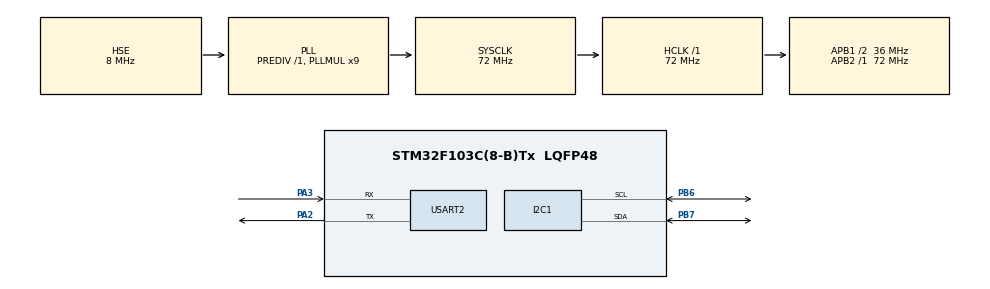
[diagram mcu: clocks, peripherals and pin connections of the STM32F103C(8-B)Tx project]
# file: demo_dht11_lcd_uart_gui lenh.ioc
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Mcu.Family=STM32F1
Mcu.Name=STM32F103C(8-B)Tx
Mcu.Package=LQFP48
NVIC.PriorityGroup=NVIC_PRIORITYGROUP_4
NVIC.USART2_IRQn=true\:0\:0\:false\:false\:true\:true\:true\:true
PA13.Mode=Serial_Wire
PA13.Signal=SYS_JTMS-SWDIO
PA14.Mode=Serial_Wire
PA14.Signal=SYS_JTCK-SWCLK
PA2.Mode=Asynchronous
PA2.Signal=USART2_TX
PA3.Mode=Asynchronous
PA3.Signal=USART2_RX
PB6.Mode=I2C
PB6.Signal=I2C1_SCL
PB7.Mode=I2C
PB7.Signal=I2C1_SDA
PD0-OSC_IN.Mode=HSE-External-Oscillator
PD0-OSC_IN.Signal=RCC_OSC_IN
PD1-OSC_OUT.Mode=HSE-External-Oscillator
PD1-OSC_OUT.Signal=RCC_OSC_OUT
ProjectManager.HeapSize=0x200
ProjectManager.StackSize=0x400
ProjectManager.TargetToolchain=MDK-ARM V5
RCC.AHBFreq_Value=72000000
RCC.APB1CLKDivider=RCC_HCLK_DIV2
RCC.APB1Freq_Value=36000000
RCC.APB1TimFreq_Value=72000000
RCC.APB2Freq_Value=72000000
RCC.APB2TimFreq_Value=72000000
RCC.HCLKFreq_Value=72000000
RCC.PLLMUL=RCC_PLL_MUL9
RCC.PLLSourceVirtual=RCC_PLLSOURCE_HSE
RCC.SYSCLKFreq_VALUE=72000000
RCC.SYSCLKSource=RCC_SYSCLKSOURCE_PLLCLK
RCC.USBFreq_Value=72000000
TIM4.Period=0xffff-1
TIM4.Prescaler=72-1
USART2.VirtualMode=VM_ASYNC
VP_TIM4_VS_ClockSourceINT.Mode=Internal
board=custom

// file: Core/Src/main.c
/* USER CODE BEGIN Header */
/**
  ******************************************************************************
  * @file           : main.c
  * @brief          : Main program body
  ******************************************************************************
  * @attention
  *
  * Copyright (c) 2025 STMicroelectronics.
  * All rights reserved.
  *
  * This software is licensed under terms that can be found in the LICENSE file
  * in the root directory of this software component.
  * If no LICENSE file comes with this software, it is provided AS-IS.
  *
  ******************************************************************************
  */
/* USER CODE END Header */
#include "main.h"
#include "stdio.h"
#include "string.h"
#include "CLCD_I2C.h"
#include "stdlib.h"

I2C_HandleTypeDef hi2c1;

TIM_HandleTypeDef htim4;

UART_HandleTypeDef huart2;

/* USER CODE BEGIN PV */
#define DHT11_PORT GPIOB
#define DHT11_PIN GPIO_PIN_14

void delay_us(uint16_t us) {
  __HAL_TIM_SET_COUNTER(&htim4, 0);
  while (__HAL_TIM_GET_COUNTER(&htim4) < us);
}

void DHT11_Start(void) {
  GPIO_InitTypeDef GPIO_InitStruct = {0};

  // Cau hình chân DHT11 làm dau ra de gui tin hieu khoi dong
  GPIO_InitStruct.Pin = DHT11_PIN;
  GPIO_InitStruct.Mode = GPIO_MODE_OUTPUT_OD;
  GPIO_InitStruct.Pull = GPIO_PULLUP;
  GPIO_InitStruct.Speed = GPIO_SPEED_FREQ_LOW;
  HAL_GPIO_Init(DHT11_PORT, &GPIO_InitStruct);

  // giuc muc LOW trong 18ms de start
  HAL_GPIO_WritePin(DHT11_PORT, DHT11_PIN, GPIO_PIN_RESET);
  HAL_Delay(18);

  // Kéo chân lên muc cao trong 30us
  HAL_GPIO_WritePin(DHT11_PORT, DHT11_PIN, GPIO_PIN_SET);
  delay_us(30);

  // Chuy?n chân v? ch? d? d?u vào d? d?c ph?n h?i t? DHT11
  GPIO_InitStruct.Mode = GPIO_MODE_INPUT;
  GPIO_InitStruct.Pull = GPIO_NOPULL;
  HAL_GPIO_Init(DHT11_PORT, &GPIO_InitStruct);
}

uint8_t DHT11_CheckResponse(void) {
  uint8_t Response = 0;
  delay_us(40);

  // Wait for LOW response from DHT11
  if (!(HAL_GPIO_ReadPin(DHT11_PORT, DHT11_PIN))) {
    delay_us(80);
    if ((HAL_GPIO_ReadPin(DHT11_PORT, DHT11_PIN))) {
      Response = 1;  // Response received
    }
  }

  delay_us(40);
  return Response;
}

uint8_t DHT11_ReadData(void) {
  uint8_t i, j;
  uint8_t data = 0;

  for (j = 0; j < 8; j++) {
    while (!(HAL_GPIO_ReadPin(DHT11_PORT, DHT11_PIN)));  // Wait for pin HIGH
    delay_us(40);

    if (!(HAL_GPIO_ReadPin(DHT11_PORT, DHT11_PIN))) {  // If LOW, it means 0
      data &= ~(1 << (7 - j));
    } else {  // If HIGH, it means 1
      data |= (1 << (7 - j));
    }

    while (HAL_GPIO_ReadPin(DHT11_PORT, DHT11_PIN));  // Wait for pin LOW
  }
  return data;
}

void DHT11_GetData(uint8_t *humidity, uint8_t *temperature) {
  uint8_t Rh_byte1, Rh_byte2, Temp_byte1, Temp_byte2, Sum;

  DHT11_Start();
  if (DHT11_CheckResponse()) {
    Rh_byte1 = DHT11_ReadData();
    Rh_byte2 = DHT11_ReadData();
    Temp_byte1 = DHT11_ReadData();
    Temp_byte2 = DHT11_ReadData();
    Sum = DHT11_ReadData();

    // kiem tra check sum
    if (Sum == (Rh_byte1 + Rh_byte2 + Temp_byte1 + Temp_byte2)) {
      *humidity = Rh_byte1;
      *temperature = Temp_byte1;
    }
  }

  // Sau khi doc xong, cau hinh de chuan bi lan sau
  GPIO_InitTypeDef GPIO_InitStruct = {0};
  GPIO_InitStruct.Pin = DHT11_PIN;
  GPIO_InitStruct.Mode = GPIO_MODE_OUTPUT_OD;
  GPIO_InitStruct.Pull = GPIO_PULLUP;
  GPIO_InitStruct.Speed = GPIO_SPEED_FREQ_LOW;
  HAL_GPIO_Init(DHT11_PORT, &GPIO_InitStruct);
}

CLCD_I2C_Name LCD1;
/* USER CODE END PV */

void SystemClock_Config(void);
static void MX_GPIO_Init(void);
static void MX_I2C1_Init(void);
static void MX_TIM4_Init(void);
static void MX_USART2_UART_Init(void);
/* USER CODE BEGIN PFP */
void MX_GPIO_Init(void) {
  GPIO_InitTypeDef GPIO_InitStruct = {0};

  __HAL_RCC_GPIOB_CLK_ENABLE();

  GPIO_InitStruct.Pin = DHT11_PIN;
  GPIO_InitStruct.Mode = GPIO_MODE_OUTPUT_OD;
  GPIO_InitStruct.Pull = GPIO_PULLUP;
  GPIO_InitStruct.Speed = GPIO_SPEED_FREQ_LOW;
  HAL_GPIO_Init(DHT11_PORT, &GPIO_InitStruct);
}

void MX_TIM4_Init(void) {
  htim4.Instance = TIM4;
  htim4.Init.Prescaler = 71;  // 72MHz / (71+1) = 1MHz (1us per tick)
  htim4.Init.CounterMode = TIM_COUNTERMODE_UP;
  htim4.Init.Period = 65535;
  htim4.Init.ClockDivision = TIM_CLOCKDIVISION_DIV1;
  HAL_TIM_Base_Init(&htim4);
  HAL_TIM_Base_Start(&htim4);
}

void MX_USART2_UART_Init(void) {
  huart2.Instance = USART2;
  huart2.Init.BaudRate = 115200;
  huart2.Init.WordLength = UART_WORDLENGTH_8B;
  huart2.Init.StopBits = UART_STOPBITS_1;
  huart2.Init.Parity = UART_PARITY_NONE;
  huart2.Init.Mode = UART_MODE_TX_RX;
  huart2.Init.HwFlowCtl = UART_HWCONTROL_NONE;
  HAL_UART_Init(&huart2);
}
/* USER CODE END PFP */

/* USER CODE BEGIN 0 */
#define CMD_BUFFER_SIZE 10

volatile uint8_t isRunning = 1;  // 1: chay; 0: dung
uint8_t uartBuffer[1];           // Nhan tung ki tu
char cmdBuffer[CMD_BUFFER_SIZE]; // Bo dem luu chuong trinh
uint8_t cmdIndex = 0;
uint8_t displayMode = 3;         // 1: only temp, 2: only humid, 3: both
uint32_t measureInterval = 2000; // Chu ki do, ms

void HAL_UART_RxCpltCallback(UART_HandleTypeDef *huart)
{
    if (huart->Instance == USART2)
    {
        if (uartBuffer[0] == '\r' || uartBuffer[0] == '\n')  // Neu nhan Enter
        {
            cmdBuffer[cmdIndex] = '\0';  // Ket thuc chuoi

            if (strcmp(cmdBuffer, "stop") == 0)
            {
                isRunning = 0;
                char msg[] = "Stopped\r\n";
                HAL_UART_Transmit(&huart2, (uint8_t*)msg, strlen(msg), HAL_MAX_DELAY);
            }
            else if (strcmp(cmdBuffer, "start") == 0)
            {
								displayMode =3;
                isRunning = 1;
                char msg[] = "Started\r\n";
                HAL_UART_Transmit(&huart2, (uint8_t*)msg, strlen(msg), HAL_MAX_DELAY);
            }
            else if (strcmp(cmdBuffer, "temp") == 0)
            {
                displayMode = 1;
								isRunning = 1;
                char msg[] = "Mode: Temp Only\r\n";
                HAL_UART_Transmit(&huart2, (uint8_t*)msg, strlen(msg), HAL_MAX_DELAY);
            }
            else if (strcmp(cmdBuffer, "hum") == 0)
            {
                displayMode = 2;
								isRunning = 1;
                char msg[] = "Mode: Humidity Only\r\n";
                HAL_UART_Transmit(&huart2, (uint8_t*)msg, strlen(msg), HAL_MAX_DELAY);
            }
            else if (strncmp(cmdBuffer, "time", 4) == 0)
            {
                uint32_t newTime = atoi(&cmdBuffer[4]);
                if (newTime >= 500 && newTime <= 10000)  // Gi?i h?n t? 500ms d?n 10s
                {
                    measureInterval = newTime;
                    char msg[30];
                    snprintf(msg, sizeof(msg), "New Time: %dums\r\n", measureInterval);
                    HAL_UART_Transmit(&huart2, (uint8_t*)msg, strlen(msg), HAL_MAX_DELAY);
                }
                else
                {
                    char msg[] = "Invalid Time (500-10000)\r\n";
                    HAL_UART_Transmit(&huart2, (uint8_t*)msg, strlen(msg), HAL_MAX_DELAY);
                }
            }

            cmdIndex = 0;  // reset bo dem lenh
        }
        else
        {
            if (cmdIndex < CMD_BUFFER_SIZE - 1)
            {
                cmdBuffer[cmdIndex++] = uartBuffer[0]; // Nhan tung ki tu
            }
        }
        HAL_UART_Receive_IT(&huart2, uartBuffer, 1); // Nhan ki tu tiep theo
    }
}

int main(void)
{
    uint8_t temp, hum;

    HAL_Init();
    SystemClock_Config();
    MX_GPIO_Init();
    MX_I2C1_Init();
    MX_TIM4_Init();
    MX_USART2_UART_Init();

    CLCD_I2C_Init(&LCD1, &hi2c1, 0x4e, 16, 2);

    // B?t d?u nh?n UART
    HAL_UART_Receive_IT(&huart2, uartBuffer, 1);

    while (1)
    {
        if (isRunning)
        {
            DHT11_GetData(&hum, &temp);
            char buffer[50];
            snprintf(buffer, sizeof(buffer), "Temp: %d C, Hum: %d%%\r\n", temp, hum);
            HAL_UART_Transmit(&huart2, (uint8_t*)buffer, strlen(buffer), HAL_MAX_DELAY);
						CLCD_I2C_Clear(&LCD1);
            if (displayMode == 1)  // only temp
            {

                CLCD_I2C_SetCursor(&LCD1, 0, 0);
                char temp_string[20];
                sprintf(temp_string, "Temp: %d C", temp);
                CLCD_I2C_WriteString(&LCD1, temp_string);
            }
            else if (displayMode == 2)  // only humid
            {

                CLCD_I2C_SetCursor(&LCD1, 0, 0);
                char hum_string[20];
                sprintf(hum_string, "Humid: %d%%", hum);
                CLCD_I2C_WriteString(&LCD1, hum_string);
            }
            else  // display both
            {
                CLCD_I2C_SetCursor(&LCD1, 0, 0);
                char temp_string[20];
                sprintf(temp_string, "Temp: %d C", temp);
                CLCD_I2C_WriteString(&LCD1, temp_string);

                CLCD_I2C_SetCursor(&LCD1, 0, 1);
                char hum_string[20];
                sprintf(hum_string, "Humid: %d%%", hum);
                CLCD_I2C_WriteString(&LCD1, hum_string);
            }
        }
        else
        {
            CLCD_I2C_Clear(&LCD1);
            CLCD_I2C_SetCursor(&LCD1, 0, 0);
            CLCD_I2C_WriteString(&LCD1, "Stopped");
        }

        HAL_Delay(measureInterval);  // delay theo chu ki set up
    }
}

void SystemClock_Config(void)
{
  RCC_OscInitTypeDef RCC_OscInitStruct = {0};
  RCC_ClkInitTypeDef RCC_ClkInitStruct = {0};

  /** Initializes the RCC Oscillators according to the specified parameters
  * in the RCC_OscInitTypeDef structure.
  */
  RCC_OscInitStruct.OscillatorType = RCC_OSCILLATORTYPE_HSE;
  RCC_OscInitStruct.HSEState = RCC_HSE_ON;
  RCC_OscInitStruct.HSEPredivValue = RCC_HSE_PREDIV_DIV1;
  RCC_OscInitStruct.HSIState = RCC_HSI_ON;
  RCC_OscInitStruct.PLL.PLLState = RCC_PLL_ON;
  RCC_OscInitStruct.PLL.PLLSource = RCC_PLLSOURCE_HSE;
  RCC_OscInitStruct.PLL.PLLMUL = RCC_PLL_MUL9;
  if (HAL_RCC_OscConfig(&RCC_OscInitStruct) != HAL_OK)
  {
    Error_Handler();
  }

  /** Initializes the CPU, AHB and APB buses clocks
  */
  RCC_ClkInitStruct.ClockType = RCC_CLOCKTYPE_HCLK|RCC_CLOCKTYPE_SYSCLK
                              |RCC_CLOCKTYPE_PCLK1|RCC_CLOCKTYPE_PCLK2;
  RCC_ClkInitStruct.SYSCLKSource = RCC_SYSCLKSOURCE_PLLCLK;
  RCC_ClkInitStruct.AHBCLKDivider = RCC_SYSCLK_DIV1;
  RCC_ClkInitStruct.APB1CLKDivider = RCC_HCLK_DIV2;
  RCC_ClkInitStruct.APB2CLKDivider = RCC_HCLK_DIV1;

  if (HAL_RCC_ClockConfig(&RCC_ClkInitStruct, FLASH_LATENCY_2) != HAL_OK)
  {
    Error_Handler();
  }
}

static void MX_I2C1_Init(void)
{

  hi2c1.Instance = I2C1;
  hi2c1.Init.ClockSpeed = 100000;
  hi2c1.Init.DutyCycle = I2C_DUTYCYCLE_2;
  hi2c1.Init.OwnAddress1 = 0;
  hi2c1.Init.AddressingMode = I2C_ADDRESSINGMODE_7BIT;
  hi2c1.Init.DualAddressMode = I2C_DUALADDRESS_DISABLE;
  hi2c1.Init.OwnAddress2 = 0;
  hi2c1.Init.GeneralCallMode = I2C_GENERALCALL_DISABLE;
  hi2c1.Init.NoStretchMode = I2C_NOSTRETCH_DISABLE;
  if (HAL_I2C_Init(&hi2c1) != HAL_OK)
  {
    Error_Handler();
  }

}
void Error_Handler(void)
{
  __disable_irq();
  while (1)
  {
  }
}
